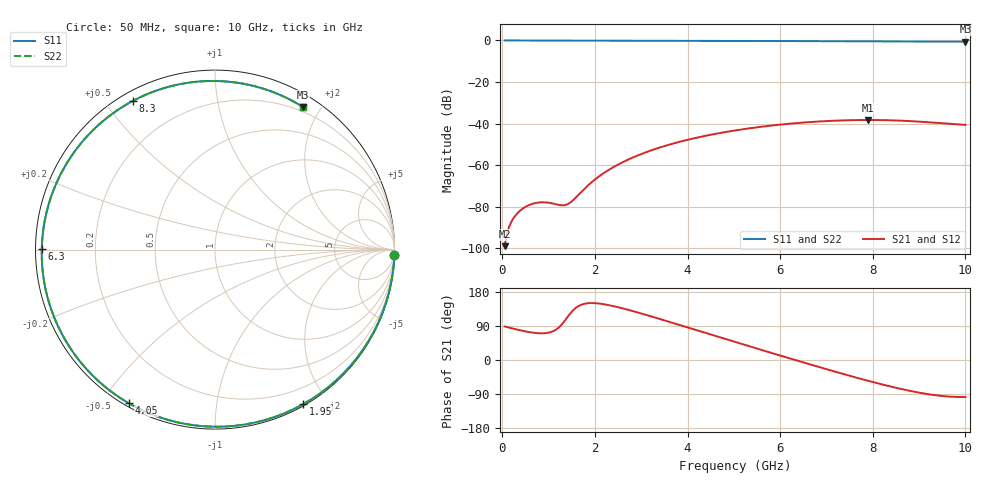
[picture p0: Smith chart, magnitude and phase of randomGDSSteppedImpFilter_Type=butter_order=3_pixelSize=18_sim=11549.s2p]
! freq	dB(S11)	phase(S11)	dB(S12)	phase(S12)
!  dB(S21)	phase(S21)	dB(S22)	phase(S22)
!S-par simulation data
#  GHz  S  DB  R 50
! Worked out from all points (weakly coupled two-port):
!   200 points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, 50 MHz to 10 GHz, reference 50 ohm
!   highest |S21| = -38.24 dB at 7.9 GHz (marker M1); lowest = -98.9 dB at 50 MHz (marker M2)
!   lowest |S11| = -0.6 dB at 10 GHz (marker M3), VSWR 28.97, Z = 7.24 + j89.2 ohm
!   |S11| at or under -10 dB: nowhere
!   |S22| runs from -0.6 to 0.0 dB; largest |S21 - S12| = 0
!   S11 on the Smith chart (normalised r, x): 50 MHz: 0, -72; 1.95 GHz: 0.02, -1.72; 4.05 GHz: 0.01, -0.59; 6.3 GHz: 0.02, +0.00; 8.3 GHz: 0.04, +0.59; 10 GHz: 0.14, +1.78
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0.05  -0.00 -1.6  -98.90 88.4  -98.90 88.4  -0.00 -1.6
0.5  -0.02 -15.8  -80.01 75.4  -80.01 75.4  -0.02 -15.8
0.85  -0.03 -26.8  -77.82 70.4  -77.82 70.4  -0.03 -26.8
1.35  -0.05 -42.2  -79.18 103.6  -79.18 103.6  -0.05 -42.2
1.5  -0.06 -46.7  -77.36 127.4  -77.36 127.4  -0.06 -46.7
1.75  -0.07 -54.3  -71.82 147.5  -71.82 147.5  -0.07 -54.3
1.95  -0.08 -60.2  -67.77 150.2  -67.77 150.2  -0.08 -60.2
2.55  -0.10 -77.7  -59.09 137.8  -59.09 137.8  -0.10 -77.7
3.4  -0.13 -101.5  -51.48 108.3  -51.48 108.3  -0.13 -101.6
4.05  -0.16 -119.2  -47.51 84.2  -47.51 84.2  -0.16 -119.2
5.05  -0.22 -146.0  -43.18 46.8  -43.18 46.8  -0.22 -146.0
5.7  -0.26 -163.5  -41.20 22.8  -41.20 22.8  -0.26 -163.5
6.3  -0.31 179.9  -39.83 0.8  -39.83 0.8  -0.31 179.9
6.7  -0.34 168.5  -39.15 -13.6  -39.15 -13.6  -0.34 168.5
7.3  -0.39 150.8  -38.47 -34.7  -38.47 -34.7  -0.39 150.7
7.9  -0.44 132.0  -38.24 -54.9  -38.24 -54.9  -0.44 132.0
8.3  -0.48 118.8  -38.34 -67.5  -38.34 -67.5  -0.48 118.8
8.35  -0.48 117.2  -38.37 -69.0  -38.37 -69.0  -0.48 117.1
8.8  -0.52 101.7  -38.76 -81.4  -38.76 -81.4  -0.52 101.7
9.2  -0.55 87.5  -39.33 -90.3  -39.33 -90.3  -0.55 87.5
9.6  -0.57 73.0  -40.01 -96.1  -40.01 -96.1  -0.57 73.0
10  -0.60 58.3  -40.59 -97.6  -40.59 -97.6  -0.60 58.3
